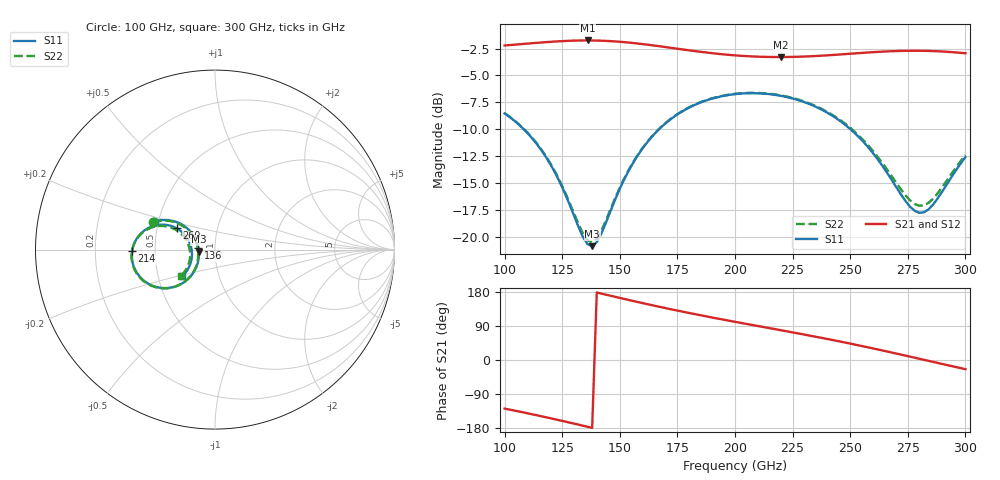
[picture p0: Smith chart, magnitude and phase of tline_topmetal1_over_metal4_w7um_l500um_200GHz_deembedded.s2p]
! Created with skrf 2.2.0 (http://scikit-rf.org).
# GHz S DB R 50.0
! Port[1] = P1
! Port[2] = P2
!freq dBS11 angS11 dBS21 angS21 dBS12 angS12 dBS22 angS22
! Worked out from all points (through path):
!   101 points, 100 GHz to 300 GHz, reference 50 ohm
!   highest |S21| = -1.75 dB at 136 GHz (marker M1); lowest = -3.3 dB at 220 GHz (marker M2)
!   group delay of S21, straight-line fit = 3.48 ps
!   lowest |S11| = -20.8 dB at 138 GHz (marker M3), VSWR 1.20, Z = 41.7 - j0.95 ohm
!   |S11| at or under -10 dB: 108.3 GHz to 167 GHz (58.67 GHz wide, 42.6 % of centre); 250.2 GHz to end of sweep
!   |S22| runs from -20.5 to -6.6 dB; largest |S21 - S12| = 9e-14
!   S11 on the Smith chart (normalised r, x): 100 GHz: 0.47, +0.17; 136 GHz: 0.83, +0.01; 214 GHz: 0.37, -0.01; 260 GHz: 0.63, +0.16; 300 GHz: 0.66, -0.21
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100  -8.53 155.5  -2.21 -128.3  -2.21 -128.3  -8.50 156.3
110  -10.36 147.4  -2.04 -140.7  -2.04 -140.7  -10.32 148.3
118  -12.59 143.0  -1.90 -151.2  -1.90 -151.2  -12.52 144.1
124  -14.92 143.1  -1.82 -159.3  -1.82 -159.3  -14.81 144.5
134  -19.99 164.7  -1.75 -173.3  -1.75 -173.3  -19.68 165.9
136  -20.66 175.2  -1.75 -176.2  -1.75 -176.2  -20.31 176.0
138  -20.85 -172.9  -1.75 -179.0  -1.75 -179.0  -20.49 -172.6
142  -19.68 -151.5  -1.77 175.2  -1.77 175.2  -19.41 -152.1
156  -13.03 -132.5  -1.99 155.5  -1.99 155.5  -12.97 -132.8
168  -9.79 -139.2  -2.31 139.3  -2.31 139.3  -9.76 -139.1
182  -7.78 -151.1  -2.72 121.7  -2.72 121.7  -7.76 -150.7
200  -6.73 -167.0  -3.13 100.8  -3.13 100.8  -6.70 -166.4
214  -6.71 -179.0  -3.28 85.2  -3.28 85.2  -6.67 -178.1
220  -6.89 176.0  -3.29 78.5  -3.29 78.5  -6.85 177.0
234  -7.80 164.8  -3.20 62.5  -3.20 62.5  -7.74 166.0
248  -9.61 155.1  -3.01 45.7  -3.01 45.7  -9.51 156.8
260  -12.24 151.0  -2.84 30.4  -2.84 30.4  -12.04 153.2
268  -14.69 154.5  -2.75 19.8  -2.75 19.8  -14.35 156.9
276  -17.19 169.9  -2.70 8.8  -2.70 8.8  -16.60 171.6
282  -17.70 -170.0  -2.71 0.5  -2.71 0.5  -17.06 -170.2
288  -16.41 -152.6  -2.75 -7.8  -2.75 -7.8  -15.93 -154.1
300  -12.58 -141.1  -2.94 -24.2  -2.94 -24.2  -12.38 -142.4
